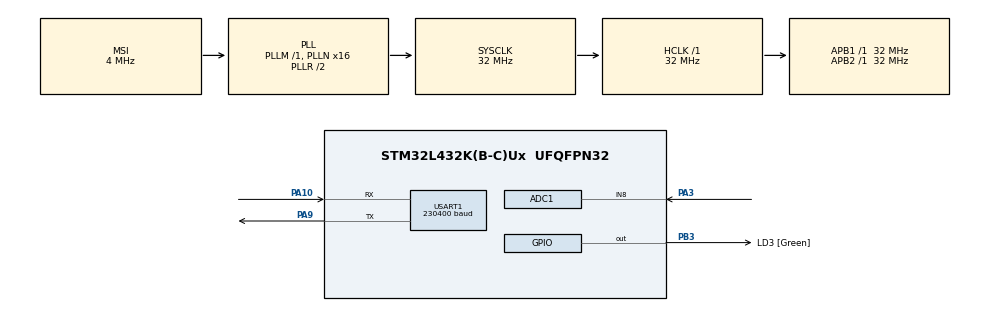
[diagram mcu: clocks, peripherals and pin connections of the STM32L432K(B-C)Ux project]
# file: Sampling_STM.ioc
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ADC1.Channel-0\#ChannelRegularConversion=ADC_CHANNEL_8
ADC1.NbrOfConversionFlag=1
ADC1.OffsetNumber-0\#ChannelRegularConversion=ADC_OFFSET_NONE
ADC1.Rank-0\#ChannelRegularConversion=1
ADC1.SamplingTime-0\#ChannelRegularConversion=ADC_SAMPLETIME_2CYCLES_5
ADC1.master=1
Mcu.Family=STM32L4
Mcu.Name=STM32L432K(B-C)Ux
Mcu.Package=UFQFPN32
NVIC.PriorityGroup=NVIC_PRIORITYGROUP_4
NVIC.TIM7_IRQn=true\:0\:0\:false\:false\:true\:true\:true\:true
PA0.GPIO_Label=MCO [High speed clock in]
PA0.Mode=HSE-External-Clock-Source-for-LittleOrca
PA0.Signal=RCC_CK_IN
PA10.Mode=Asynchronous
PA10.Signal=USART1_RX
PA13\ (JTMS-SWDIO).GPIO_Label=SWDIO
PA13\ (JTMS-SWDIO).Mode=Serial_Wire
PA13\ (JTMS-SWDIO).Signal=SYS_JTMS-SWDIO
PA14\ (JTCK-SWCLK).GPIO_Label=SWCLK
PA14\ (JTCK-SWCLK).Mode=Serial_Wire
PA14\ (JTCK-SWCLK).Signal=SYS_JTCK-SWCLK
PA15\ (JTDI).GPIO_Label=VCP_RX
PA15\ (JTDI).Signal=USART2_RX
PA2.GPIO_Label=VCP_TX
PA2.Signal=USART2_TX
PA3.Signal=ADCx_IN8
PA9.Mode=Asynchronous
PA9.Signal=USART1_TX
PB3\ (JTDO-TRACESWO).GPIO_Label=LD3 [Green]
PB3\ (JTDO-TRACESWO).Signal=GPIO_Output
PC14-OSC32_IN\ (PC14).Mode=LSE-External-Oscillator
PC14-OSC32_IN\ (PC14).Signal=RCC_OSC32_IN
PC15-OSC32_OUT\ (PC15).Mode=LSE-External-Oscillator
PC15-OSC32_OUT\ (PC15).Signal=RCC_OSC32_OUT
ProjectManager.HeapSize=0x200
ProjectManager.StackSize=0x400
ProjectManager.TargetToolchain=STM32CubeIDE
RCC.ADCFreq_Value=32000000
RCC.AHBFreq_Value=32000000
RCC.APB1Freq_Value=32000000
RCC.APB1TimFreq_Value=32000000
RCC.APB2Freq_Value=32000000
RCC.APB2TimFreq_Value=32000000
RCC.CortexFreq_Value=32000000
RCC.HCLKFreq_Value=32000000
RCC.HSE_VALUE=8000000
RCC.HSI16_VALUE=16000000
RCC.HSI48_VALUE=48000000
RCC.HSI_VALUE=16000000
RCC.MSI_VALUE=4000000
RCC.PLLMUL=RCC_PLLMUL_4
RCC.PLLN=16
RCC.PLLSAI1N=16
RCC.SYSCLKFreq_VALUE=32000000
RCC.SYSCLKSource=RCC_SYSCLKSOURCE_PLLCLK
RCC.USBFreq_Value=32000000
RCC.VCOOutputFreq_Value=64000000
SH.ADCx_IN8.0=ADC1_IN8,IN8-Single-Ended
TIM7.Period=100-1
TIM7.Prescaler=50-1
USART1.BaudRate=230400
USART1.VirtualMode-Asynchronous=VM_ASYNC
VP_TIM7_VS_ClockSourceINT.Mode=Enable_Timer
board=NUCLEO-L432KC

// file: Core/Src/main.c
/* USER CODE BEGIN Header */
/**
  ******************************************************************************
  * @file           : main.c
  * @brief          : Main program body
  ******************************************************************************
  * @attention
  *
  * Copyright (c) 2025 STMicroelectronics.
  * All rights reserved.
  *
  * This software is licensed under terms that can be found in the LICENSE file
  * in the root directory of this software component.
  * If no LICENSE file comes with this software, it is provided AS-IS.
  *
  ******************************************************************************
  */
/* USER CODE END Header */
#include "main.h"
// debugged noise

/* USER CODE BEGIN Includes */
#include <stdio.h>
#include <string.h>
/* USER CODE END Includes */

ADC_HandleTypeDef hadc1;

TIM_HandleTypeDef htim7;

UART_HandleTypeDef huart1;

/* USER CODE BEGIN PV */
uint16_t raw_ADC_value = 0; // Store the result of the latest ADC conversion [16 bits]
uint8_t raw_ADC_value_1[2] = {0}; // 8 bits unsigned integer ARRAY
uint16_t temp = 0; // temporary var to break 16 bit ADC into 2 bytes
char string_1[40] = "\0"; // Write value of variable raw_ADC_value to Termite
/* USER CODE END PV */

void SystemClock_Config(void);
static void MX_GPIO_Init(void);
static void MX_ADC1_Init(void);
static void MX_TIM7_Init(void);
static void MX_USART1_UART_Init(void);

int main(void)
{

  /* MCU Configuration--------------------------------------------------------*/

  /* Reset of all peripherals, Initializes the Flash interface and the Systick. */
  HAL_Init();

  /* Configure the system clock */
  SystemClock_Config();

  /* Initialize all configured peripherals */
  MX_GPIO_Init();
  MX_ADC1_Init();
  MX_TIM7_Init();
  MX_USART1_UART_Init();
  /* USER CODE BEGIN 2 */
  HAL_TIM_Base_Start_IT(&htim7); // Start Timer 7 (TIM7)
  /* USER CODE END 2 */

  /* Infinite loop */
  while (1)
  {

  }
}

void SystemClock_Config(void)
{
  RCC_OscInitTypeDef RCC_OscInitStruct = {0};
  RCC_ClkInitTypeDef RCC_ClkInitStruct = {0};

  /** Configure the main internal regulator output voltage
  */
  if (HAL_PWREx_ControlVoltageScaling(PWR_REGULATOR_VOLTAGE_SCALE1) != HAL_OK)
  {
    Error_Handler();
  }

  /** Configure LSE Drive Capability
  */
  HAL_PWR_EnableBkUpAccess();
  __HAL_RCC_LSEDRIVE_CONFIG(RCC_LSEDRIVE_LOW);

  /** Initializes the RCC Oscillators according to the specified parameters
  * in the RCC_OscInitTypeDef structure.
  */
  RCC_OscInitStruct.OscillatorType = RCC_OSCILLATORTYPE_LSE|RCC_OSCILLATORTYPE_MSI;
  RCC_OscInitStruct.LSEState = RCC_LSE_ON;
  RCC_OscInitStruct.MSIState = RCC_MSI_ON;
  RCC_OscInitStruct.MSICalibrationValue = 0;
  RCC_OscInitStruct.MSIClockRange = RCC_MSIRANGE_6;
  RCC_OscInitStruct.PLL.PLLState = RCC_PLL_ON;
  RCC_OscInitStruct.PLL.PLLSource = RCC_PLLSOURCE_MSI;
  RCC_OscInitStruct.PLL.PLLM = 1;
  RCC_OscInitStruct.PLL.PLLN = 16;
  RCC_OscInitStruct.PLL.PLLP = RCC_PLLP_DIV7;
  RCC_OscInitStruct.PLL.PLLQ = RCC_PLLQ_DIV2;
  RCC_OscInitStruct.PLL.PLLR = RCC_PLLR_DIV2;
  if (HAL_RCC_OscConfig(&RCC_OscInitStruct) != HAL_OK)
  {
    Error_Handler();
  }

  /** Initializes the CPU, AHB and APB buses clocks
  */
  RCC_ClkInitStruct.ClockType = RCC_CLOCKTYPE_HCLK|RCC_CLOCKTYPE_SYSCLK
                              |RCC_CLOCKTYPE_PCLK1|RCC_CLOCKTYPE_PCLK2;
  RCC_ClkInitStruct.SYSCLKSource = RCC_SYSCLKSOURCE_PLLCLK;
  RCC_ClkInitStruct.AHBCLKDivider = RCC_SYSCLK_DIV1;
  RCC_ClkInitStruct.APB1CLKDivider = RCC_HCLK_DIV1;
  RCC_ClkInitStruct.APB2CLKDivider = RCC_HCLK_DIV1;

  if (HAL_RCC_ClockConfig(&RCC_ClkInitStruct, FLASH_LATENCY_1) != HAL_OK)
  {
    Error_Handler();
  }

  /** Enable MSI Auto calibration
  */
  HAL_RCCEx_EnableMSIPLLMode();
}

static void MX_ADC1_Init(void)
{

  ADC_ChannelConfTypeDef sConfig = {0};

  /** Common config
  */
  hadc1.Instance = ADC1;
  hadc1.Init.ClockPrescaler = ADC_CLOCK_ASYNC_DIV1;
  hadc1.Init.Resolution = ADC_RESOLUTION_12B;
  hadc1.Init.DataAlign = ADC_DATAALIGN_RIGHT;
  hadc1.Init.ScanConvMode = ADC_SCAN_DISABLE;
  hadc1.Init.EOCSelection = ADC_EOC_SINGLE_CONV;
  hadc1.Init.LowPowerAutoWait = DISABLE;
  hadc1.Init.ContinuousConvMode = DISABLE;
  hadc1.Init.NbrOfConversion = 1;
  hadc1.Init.DiscontinuousConvMode = DISABLE;
  hadc1.Init.ExternalTrigConv = ADC_SOFTWARE_START;
  hadc1.Init.ExternalTrigConvEdge = ADC_EXTERNALTRIGCONVEDGE_NONE;
  hadc1.Init.DMAContinuousRequests = DISABLE;
  hadc1.Init.Overrun = ADC_OVR_DATA_PRESERVED;
  hadc1.Init.OversamplingMode = DISABLE;
  if (HAL_ADC_Init(&hadc1) != HAL_OK)
  {
    Error_Handler();
  }

  /** Configure Regular Channel
  */
  sConfig.Channel = ADC_CHANNEL_8;
  sConfig.Rank = ADC_REGULAR_RANK_1;
  sConfig.SamplingTime = ADC_SAMPLETIME_2CYCLES_5;
  sConfig.SingleDiff = ADC_SINGLE_ENDED;
  sConfig.OffsetNumber = ADC_OFFSET_NONE;
  sConfig.Offset = 0;
  if (HAL_ADC_ConfigChannel(&hadc1, &sConfig) != HAL_OK)
  {
    Error_Handler();
  }

}

static void MX_TIM7_Init(void)
{

  TIM_MasterConfigTypeDef sMasterConfig = {0};

  htim7.Instance = TIM7;
  htim7.Init.Prescaler = 50-1;
  htim7.Init.CounterMode = TIM_COUNTERMODE_UP;
  htim7.Init.Period = 100-1;
  htim7.Init.AutoReloadPreload = TIM_AUTORELOAD_PRELOAD_DISABLE;
  if (HAL_TIM_Base_Init(&htim7) != HAL_OK)
  {
    Error_Handler();
  }
  sMasterConfig.MasterOutputTrigger = TIM_TRGO_RESET;
  sMasterConfig.MasterSlaveMode = TIM_MASTERSLAVEMODE_DISABLE;
  if (HAL_TIMEx_MasterConfigSynchronization(&htim7, &sMasterConfig) != HAL_OK)
  {
    Error_Handler();
  }

}

static void MX_USART1_UART_Init(void)
{

  huart1.Instance = USART1;
  huart1.Init.BaudRate = 230400;
  huart1.Init.WordLength = UART_WORDLENGTH_8B;
  huart1.Init.StopBits = UART_STOPBITS_1;
  huart1.Init.Parity = UART_PARITY_NONE;
  huart1.Init.Mode = UART_MODE_TX_RX;
  huart1.Init.HwFlowCtl = UART_HWCONTROL_NONE;
  huart1.Init.OverSampling = UART_OVERSAMPLING_16;
  huart1.Init.OneBitSampling = UART_ONE_BIT_SAMPLE_DISABLE;
  huart1.AdvancedInit.AdvFeatureInit = UART_ADVFEATURE_NO_INIT;
  if (HAL_UART_Init(&huart1) != HAL_OK)
  {
    Error_Handler();
  }

}

static void MX_GPIO_Init(void)
{
  GPIO_InitTypeDef GPIO_InitStruct = {0};

  /* GPIO Ports Clock Enable */
  __HAL_RCC_GPIOC_CLK_ENABLE();
  __HAL_RCC_GPIOA_CLK_ENABLE();
  __HAL_RCC_GPIOB_CLK_ENABLE();

  /*Configure GPIO pin Output Level */
  HAL_GPIO_WritePin(LD3_GPIO_Port, LD3_Pin, GPIO_PIN_RESET);

  /*Configure GPIO pin : VCP_TX_Pin */
  GPIO_InitStruct.Pin = VCP_TX_Pin;
  GPIO_InitStruct.Mode = GPIO_MODE_AF_PP;
  GPIO_InitStruct.Pull = GPIO_NOPULL;
  GPIO_InitStruct.Speed = GPIO_SPEED_FREQ_VERY_HIGH;
  GPIO_InitStruct.Alternate = GPIO_AF7_USART2;
  HAL_GPIO_Init(VCP_TX_GPIO_Port, &GPIO_InitStruct);

  /*Configure GPIO pin : VCP_RX_Pin */
  GPIO_InitStruct.Pin = VCP_RX_Pin;
  GPIO_InitStruct.Mode = GPIO_MODE_AF_PP;
  GPIO_InitStruct.Pull = GPIO_NOPULL;
  GPIO_InitStruct.Speed = GPIO_SPEED_FREQ_VERY_HIGH;
  GPIO_InitStruct.Alternate = GPIO_AF3_USART2;
  HAL_GPIO_Init(VCP_RX_GPIO_Port, &GPIO_InitStruct);

  /*Configure GPIO pin : LD3_Pin */
  GPIO_InitStruct.Pin = LD3_Pin;
  GPIO_InitStruct.Mode = GPIO_MODE_OUTPUT_PP;
  GPIO_InitStruct.Pull = GPIO_NOPULL;
  GPIO_InitStruct.Speed = GPIO_SPEED_FREQ_LOW;
  HAL_GPIO_Init(LD3_GPIO_Port, &GPIO_InitStruct);

}

/* USER CODE BEGIN 4 */
void HAL_TIM_PeriodElapsedCallback (TIM_HandleTypeDef* htim)
{
	if (htim == &htim7) // If the Callback was executed for ADC timer TIM7
	{
		HAL_ADC_Start(&hadc1); // Start ADC
		HAL_ADC_PollForConversion(&hadc1,10); // Wait for conversion
		raw_ADC_value = HAL_ADC_GetValue(&hadc1); // Get the unsigned 12 - bits ADC data

//		// Print raw_ADC_value into string_1
//		 sprintf(string_1,"raw ADC value: %d\n",raw_ADC_value);
//		// Transmit string_1 over UART2
//		 HAL_UART_Transmit(&huart1, (uint8_t*)string_1, strlen(string_1),10);

/* Break ADC output into 2 bytes through bitwise manipulation */

		// Extract Least Significant 8 bits of ADC data
		temp = raw_ADC_value & 0xFF;
		raw_ADC_value_1[0] = temp;

		//Extract most significant 8 bits of ADC data
		temp = raw_ADC_value >> 8;
		raw_ADC_value_1[1] = temp;

		// Print raw_ADC_value_1 into string_1
		// sprintf(string_1,"raw ADC value: %d\n",raw_ADC_value_1);
		// Transmit string_1 over UART2
//		HAL_UART_Transmit(&huart2, (uint8_t*)string_1, strlen(string_1),10);
		HAL_UART_Transmit(&huart1, (uint8_t*)raw_ADC_value_1, 2,10);

		// Transmit 16 bit ADC data through UART1
//		HAL_UART_Transmit(&huart1, (uint8_t*)raw_ADC_value_1,2,10);
		HAL_ADC_Stop(&hadc1); // Stop ADC
	}
}
/* USER CODE END 4 */

void Error_Handler(void)
{
  __disable_irq();
  while (1)
  {
  }
}
